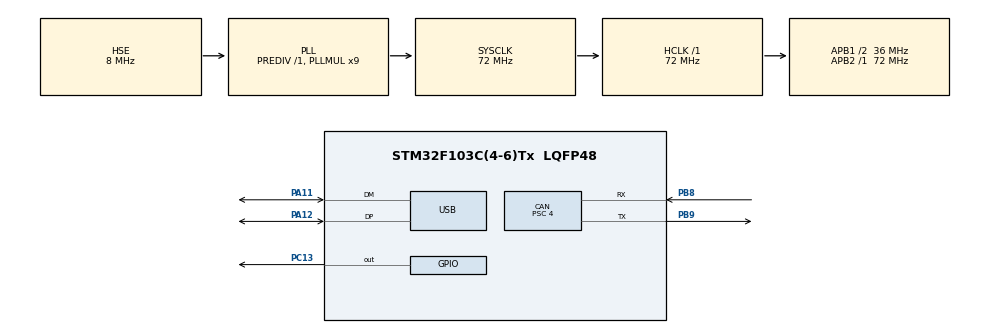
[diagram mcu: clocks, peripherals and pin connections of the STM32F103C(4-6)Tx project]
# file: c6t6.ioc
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CAN.BS1=CAN_BS1_15TQ
CAN.BS2=CAN_BS2_2TQ
CAN.CalculateBaudRate=500000
CAN.CalculateTimeBit=2000
CAN.CalculateTimeQuantum=111.11111111111111
CAN.NART=ENABLE
CAN.Prescaler=4
Mcu.Family=STM32F1
Mcu.Name=STM32F103C(4-6)Tx
Mcu.Package=LQFP48
NVIC.CAN1_RX1_IRQn=true\:0\:0\:false\:false\:true\:true\:true\:true
NVIC.PriorityGroup=NVIC_PRIORITYGROUP_4
NVIC.USB_LP_CAN1_RX0_IRQn=true\:0\:0\:false\:false\:true\:true\:true\:true
PA11.Mode=Device
PA11.Signal=USB_DM
PA12.Mode=Device
PA12.Signal=USB_DP
PA13.Mode=Serial_Wire
PA13.Signal=SYS_JTMS-SWDIO
PA14.Mode=Serial_Wire
PA14.Signal=SYS_JTCK-SWCLK
PB8.Mode=CAN_Activate
PB8.Signal=CAN_RX
PB9.Mode=CAN_Activate
PB9.Signal=CAN_TX
PC13-TAMPER-RTC.GPIO_PuPd=GPIO_NOPULL
PC13-TAMPER-RTC.PinState=GPIO_PIN_SET
PC13-TAMPER-RTC.Signal=GPIO_Output
PC14-OSC32_IN.Mode=LSE-External-Oscillator
PC14-OSC32_IN.Signal=RCC_OSC32_IN
PC15-OSC32_OUT.Mode=LSE-External-Oscillator
PC15-OSC32_OUT.Signal=RCC_OSC32_OUT
PD0-OSC_IN.Mode=HSE-External-Oscillator
PD0-OSC_IN.Signal=RCC_OSC_IN
PD1-OSC_OUT.Mode=HSE-External-Oscillator
PD1-OSC_OUT.Signal=RCC_OSC_OUT
ProjectManager.HeapSize=0x200
ProjectManager.StackSize=0x400
ProjectManager.TargetToolchain=CMake
RCC.AHBFreq_Value=72000000
RCC.APB1CLKDivider=RCC_HCLK_DIV2
RCC.APB1Freq_Value=36000000
RCC.APB1TimFreq_Value=72000000
RCC.APB2Freq_Value=72000000
RCC.APB2TimFreq_Value=72000000
RCC.HCLKFreq_Value=72000000
RCC.PLLMUL=RCC_PLL_MUL9
RCC.PLLSourceVirtual=RCC_PLLSOURCE_HSE
RCC.SYSCLKFreq_VALUE=72000000
RCC.SYSCLKSource=RCC_SYSCLKSOURCE_PLLCLK
RCC.USBFreq_Value=48000000
RCC.USBPrescaler=RCC_USBCLKSOURCE_PLL_DIV1_5
USB_DEVICE.CLASS_NAME_FS=CDC
USB_DEVICE.MANUFACTURER_STRING=stm32f103c6t6_candevice
USB_DEVICE.USBD_MAX_STR_DESC_SIZ=256
USB_DEVICE.USBD_SELF_POWERED=0
USB_DEVICE.VirtualMode=Cdc
USB_DEVICE.VirtualModeFS=Cdc_FS
VP_USB_DEVICE_VS_USB_DEVICE_CDC_FS.Mode=CDC_FS
board=custom

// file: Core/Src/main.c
/* USER CODE BEGIN Header */
/**
 ******************************************************************************
 * @file           : main.c
 * @brief          : Main program body
 ******************************************************************************
 * @attention
 *
 * Copyright (c) 2025 STMicroelectronics.
 * All rights reserved.
 *
 * This software is licensed under terms that can be found in the LICENSE file
 * in the root directory of this software component.
 * If no LICENSE file comes with this software, it is provided AS-IS.
 *
 ******************************************************************************
 */
/* USER CODE END Header */
#include "main.h"
#include "usb_device.h"

/* USER CODE BEGIN Includes */
#include <stdio.h>
#include <string.h>

#include "can_bitrate.h"
#include "can_codec.h"
#define MSGQUEUE_SLOTS 12
#include "ringbuf.h"
#include "usb_device.h"
#include "usbd_cdc_if.h"
/* USER CODE END Includes */

/* USER CODE BEGIN PD */
/* Longest legal frame is "T" + 8 hex id + dlc + 16 hex data = 26 characters;
   64 leaves generous room for a host that pads or adds trailing whitespace. */
#define BRIDGE_LINE_MAX 64
#define BRIDGE_LINE_SLOTS MSGQUEUE_SLOTS

#define BRIDGE_TX_BUF_SIZE 512

#define USB_TX_PACKET_SIZE 64u
/* How often the main loop looks at the controller error state. */
#define CAN_ERROR_POLL_MS 20u
/* Back-off between bus-off recovery attempts. */
#define CAN_RECOVER_INTERVAL_MS 1000u
/* PC13 is active-low on common STM32F103 "Blue Pill" boards.  Stretch each
   activity event so it is visible without delaying CAN/USB handling. */
#define LED_ACTIVITY_HOLD_MS 35u
/* USER CODE END PD */

CAN_HandleTypeDef hcan;

/* USER CODE BEGIN PV */
/* ---- USB CDC receive: line assembly + published-message queue ------------- */
static char bridge_line_slots[BRIDGE_LINE_SLOTS][BRIDGE_LINE_MAX];
static msgqueue_t bridge_rxq;
static uint16_t bridge_rx_idx;

/* ---- USB CDC transmit: ring buffer drained by the main loop --------------- */
static uint8_t bridge_tx_buf[BRIDGE_TX_BUF_SIZE];
static ring_u8_t bridge_txq;
static uint16_t usb_tx_pending;

/* ---- Counters, readable with the 'V' status command ----------------------- */
static volatile uint32_t stat_can_rx;      /* frames forwarded CAN -> USB    */
static volatile uint32_t stat_can_tx;      /* frames accepted USB -> CAN     */
static volatile uint32_t stat_transport_drop; /* bytes dropped, USB TX full */
static volatile uint32_t stat_cmd_drop;    /* command lines dropped/overflow */
static volatile uint32_t stat_cmd_bad;     /* malformed command lines        */
static volatile uint32_t stat_can_tx_drop; /* no free CAN mailbox            */
static volatile uint32_t stat_transport_err; /* reserved transport errors    */
static volatile uint32_t stat_can_recover; /* successful bus-off recoveries  */

static uint32_t can_last_error_poll;
static uint32_t can_last_recover;
static const can_bitrate_timing_t *can_active_bitrate;
static volatile uint8_t led_activity_requested;
static uint8_t led_activity_on;
static uint32_t led_activity_deadline;
/* USER CODE END PV */

void SystemClock_Config(void);
static void MX_GPIO_Init(void);
static void MX_CAN_Init(void);
/* USER CODE BEGIN PFP */
static HAL_StatusTypeDef CAN_ApplyFilterConfig(void);
static HAL_StatusTypeDef CAN_StartWithFilter(void);
static HAL_StatusTypeDef CAN_ReconfigureBitrate(const can_bitrate_timing_t *timing);
static void CAN_ServiceErrors(void);
static void USB_TxService(void);
static void HandleCommand(const char *line);
static void Transport_QueueBytes(const char *data, uint16_t len);
static void Transport_ReplyBitrate(void);
static void LED_RequestActivity(void);
static void LED_Service(void);
/* USER CODE END PFP */

/* USER CODE BEGIN 0 */
static HAL_StatusTypeDef CAN_ApplyFilterConfig(void)
{
    CAN_FilterTypeDef filterConfig;

    filterConfig.FilterBank           = 0;
    filterConfig.FilterMode           = CAN_FILTERMODE_IDMASK;
    filterConfig.FilterScale          = CAN_FILTERSCALE_32BIT;
    filterConfig.FilterIdHigh         = 0x0000;
    filterConfig.FilterIdLow          = 0x0000;
    filterConfig.FilterMaskIdHigh     = 0x0000;   /* mask 0 = accept everything */
    filterConfig.FilterMaskIdLow      = 0x0000;
    filterConfig.FilterFIFOAssignment = CAN_FILTER_FIFO0;
    filterConfig.FilterActivation     = ENABLE;
    filterConfig.SlaveStartFilterBank = 14;       /* unused: single CAN instance */

    return HAL_CAN_ConfigFilter(&hcan, &filterConfig);
}

/* Start (or restart) the controller.  HAL_CAN_Stop() deactivates the filter
   banks, so the filter has to be reprogrammed on every restart - that is what
   the bus-off recovery path relies on. */
static HAL_StatusTypeDef CAN_StartWithFilter(void)
{
    if (CAN_ApplyFilterConfig() != HAL_OK || HAL_CAN_Start(&hcan) != HAL_OK)
    {
        return HAL_ERROR;
    }
    return HAL_CAN_ActivateNotification(&hcan,
                                        CAN_IT_RX_FIFO0_MSG_PENDING |
                                        CAN_IT_ERROR |
                                        CAN_IT_BUSOFF);
}

static uint32_t CAN_TimeSeg1Constant(uint8_t time_quanta)
{
    switch (time_quanta)
    {
        case 12u: return CAN_BS1_12TQ;
        case 15u: return CAN_BS1_15TQ;
        default:  return 0u;
    }
}

static uint32_t CAN_TimeSeg2Constant(uint8_t time_quanta)
{
    return time_quanta == 2u ? CAN_BS2_2TQ : 0u;
}

/* Stop bxCAN, update BTR through HAL_CAN_Init(), then restore the filter,
   notifications and normal operation.  If the new configuration cannot be
   started, put the previous configuration back before reporting failure. */
static HAL_StatusTypeDef CAN_ReconfigureBitrate(const can_bitrate_timing_t *timing)
{
    CAN_InitTypeDef previous_init;
    const can_bitrate_timing_t *previous_bitrate = can_active_bitrate;
    uint32_t time_seg1;
    uint32_t time_seg2;

    if (timing == NULL)
    {
        return HAL_ERROR;
    }
    if (can_active_bitrate == timing)
    {
        return HAL_OK;
    }

    time_seg1 = CAN_TimeSeg1Constant(timing->time_seg1_tq);
    time_seg2 = CAN_TimeSeg2Constant(timing->time_seg2_tq);
    if (time_seg1 == 0u || time_seg2 == 0u)
    {
        return HAL_ERROR;
    }
    if (HAL_CAN_Stop(&hcan) != HAL_OK)
    {
        return HAL_ERROR;
    }

    previous_init = hcan.Init;
    hcan.Init.Prescaler = timing->prescaler;
    hcan.Init.TimeSeg1 = time_seg1;
    hcan.Init.TimeSeg2 = time_seg2;
    if (HAL_CAN_Init(&hcan) == HAL_OK && CAN_StartWithFilter() == HAL_OK)
    {
        hcan.ErrorCode = HAL_CAN_ERROR_NONE;
        can_active_bitrate = timing;
        return HAL_OK;
    }

    /* A failed change must not strand the device at a half-applied rate. */
    (void)HAL_CAN_Stop(&hcan);
    hcan.Init = previous_init;
    if (HAL_CAN_Init(&hcan) == HAL_OK && CAN_StartWithFilter() == HAL_OK)
    {
        hcan.ErrorCode = HAL_CAN_ERROR_NONE;
    }
    can_active_bitrate = previous_bitrate;
    return HAL_ERROR;
}

/* Bring the controller back after it dropped off the bus.  Without this the
   node stays silent until someone power-cycles it. */
static void CAN_ServiceErrors(void)
{
    uint32_t now = HAL_GetTick();
    uint32_t err;

    if ((now - can_last_error_poll) < CAN_ERROR_POLL_MS)
    {
        return;
    }
    can_last_error_poll = now;

    err = HAL_CAN_GetError(&hcan);
    if (err == HAL_CAN_ERROR_NONE)
    {
        return;
    }
    if ((err & HAL_CAN_ERROR_BOF) == 0u)
    {
        /* Warning / error-passive only: the controller keeps working. */
        return;
    }
    if ((now - can_last_recover) < CAN_RECOVER_INTERVAL_MS)
    {
        return;
    }
    can_last_recover = now;

    if (HAL_CAN_Stop(&hcan) != HAL_OK)
    {
        return;
    }
    __HAL_CAN_CLEAR_FLAG(&hcan, CAN_FLAG_ERRI);
    hcan.ErrorCode = HAL_CAN_ERROR_NONE;

    if (CAN_StartWithFilter() == HAL_OK)
    {
        stat_can_recover++;
    }
}

/* Submit one full-speed USB packet at a time.  The CDC stack keeps the buffer
   pointer until the IN transfer completes, so bytes are consumed from the ring
   only after TxState returns to idle. */
static void USB_TxService(void)
{
    uint16_t run;

    if (usb_tx_pending != 0u)
    {
        if (CDC_TxBusy_FS() != 0u)
        {
            return;
        }
        ring_u8_consume(&bridge_txq, usb_tx_pending);
        usb_tx_pending = 0u;
    }

    run = ring_u8_peek_run(&bridge_txq);

    if (run == 0u)
    {
        return;
    }
    if (run > USB_TX_PACKET_SIZE)
    {
        run = USB_TX_PACKET_SIZE;
    }

    if (CDC_Transmit_FS(&bridge_tx_buf[bridge_txq.tail], run) == USBD_OK)
    {
        usb_tx_pending = run;
    }
}

static void Transport_QueueBytes(const char *data, uint16_t len)
{
    uint16_t i;
    uint32_t primask = __get_PRIMASK();

    __disable_irq();
    for (i = 0u; i < len; i++)
    {
        if (!ring_u8_push(&bridge_txq, (uint8_t)data[i]))
        {
            stat_transport_drop++;
            break;
        }
    }
    __set_PRIMASK(primask);
}

/* Interrupt callbacks only set a byte flag.  The main loop performs the GPIO
   writes and extends the visible pulse, so no delay or HAL GPIO call is added
   to the CAN receive interrupt. */
static void LED_RequestActivity(void)
{
    led_activity_requested = 1u;
}

static void LED_Service(void)
{
    uint32_t now = HAL_GetTick();

    if (led_activity_requested != 0u)
    {
        led_activity_requested = 0u;
        led_activity_on = 1u;
        led_activity_deadline = now + LED_ACTIVITY_HOLD_MS;
        HAL_GPIO_WritePin(GPIOC, GPIO_PIN_13, GPIO_PIN_RESET);
    }
    else if (led_activity_on != 0u &&
             (int32_t)(now - led_activity_deadline) >= 0)
    {
        led_activity_on = 0u;
        HAL_GPIO_WritePin(GPIOC, GPIO_PIN_13, GPIO_PIN_SET);
    }
}

static void Transport_ReplyBitrate(void)
{
    char reply[20];
    const can_bitrate_timing_t *active = can_active_bitrate;
    int n;

    if (active == NULL)
    {
        active = can_bitrate_default();
    }
    n = snprintf(reply, sizeof reply, "S %lu\r", (unsigned long)active->bitrate);
    if (n > 0)
    {
        Transport_QueueBytes(reply, (uint16_t)n);
    }
}

static void HandleCommand(const char *line)
{
    can_frame_t frame;
    can_decode_result_t result;
    const can_bitrate_timing_t *requested_bitrate;
    can_bitrate_command_t bitrate_command;

    bitrate_command = can_bitrate_parse_command(line, &requested_bitrate);
    if (bitrate_command == CAN_BITRATE_CMD_QUERY)
    {
        Transport_ReplyBitrate();
        return;
    }
    if (bitrate_command == CAN_BITRATE_CMD_SET)
    {
        if (CAN_ReconfigureBitrate(requested_bitrate) == HAL_OK)
        {
            Transport_ReplyBitrate();
        }
        else
        {
            Transport_QueueBytes("E S\r", 4u);
        }
        return;
    }
    if (bitrate_command == CAN_BITRATE_CMD_INVALID)
    {
        stat_cmd_bad++;
        Transport_QueueBytes("E S\r", 4u);
        return;
    }

    /* Keep-alive / identification, so a host can confirm the bridge is alive
       and see whether anything is being dropped. */
    if (line[0] == 'V' && line[1] == '\0')
    {
        char reply[96];
        int n = snprintf(reply, sizeof reply, "V %lu %lu %lu %lu %lu %lu %lu %lu\r",
                         (unsigned long)stat_can_rx,
                         (unsigned long)stat_can_tx,
                         (unsigned long)stat_transport_drop,
                         (unsigned long)stat_cmd_drop,
                         (unsigned long)stat_cmd_bad,
                         (unsigned long)stat_can_tx_drop,
                         (unsigned long)stat_transport_err,
                         (unsigned long)stat_can_recover);
        if (n > 0)
        {
            Transport_QueueBytes(reply, (uint16_t)n);
        }
        return;
    }

    result = can_decode(line, &frame);
    if (result == CAN_DEC_NOT_FRAME)
    {
        return;   /* not a frame at all - ignore, do not count as an error */
    }
    if (result != CAN_DEC_OK)
    {
        stat_cmd_bad++;
        return;
    }

    {
        CAN_TxHeaderTypeDef tx_header;
        uint32_t mailbox;

        memset(&tx_header, 0, sizeof tx_header);
        tx_header.IDE = frame.ext ? CAN_ID_EXT : CAN_ID_STD;
        tx_header.RTR = frame.rtr ? CAN_RTR_REMOTE : CAN_RTR_DATA;
        tx_header.DLC = frame.dlc;
        tx_header.TransmitGlobalTime = DISABLE;
        if (frame.ext)
        {
            tx_header.ExtId = frame.id;
        }
        else
        {
            tx_header.StdId = frame.id;
        }

        if (HAL_CAN_AddTxMessage(&hcan, &tx_header, frame.data, &mailbox) == HAL_OK)
        {
            stat_can_tx++;
            LED_RequestActivity();
        }
        else
        {
            /* All three mailboxes busy - report it rather than silently
               dropping the frame on the floor. */
            stat_can_tx_drop++;
        }
    }
}
/* USER CODE END 0 */

int main(void)
{

  /* MCU Configuration--------------------------------------------------------*/

  /* Reset of all peripherals, Initializes the Flash interface and the Systick. */
  HAL_Init();

  /* Configure the system clock */
  SystemClock_Config();

  /* Initialize all configured peripherals */
  MX_GPIO_Init();
  MX_CAN_Init();
  MX_USB_DEVICE_Init();
  /* USER CODE BEGIN 2 */
    msgqueue_init(&bridge_rxq, &bridge_line_slots[0][0], BRIDGE_LINE_MAX);
    ring_u8_init(&bridge_txq, bridge_tx_buf, BRIDGE_TX_BUF_SIZE);
    can_active_bitrate = can_bitrate_default();

    /* USB is already up before CAN notifications are enabled below.  This
       keeps enumeration deterministic on their shared interrupt vector. */
    if (CAN_StartWithFilter() != HAL_OK)
    {
        Error_Handler();
    }

    can_last_error_poll = HAL_GetTick();

  /* USER CODE END 2 */

  /* Infinite loop */
  /* USER CODE BEGIN WHILE */
    while (1) {
        /* CAN -> USB CDC backlog */
        USB_TxService();

        /* Recover the controller if it fell off the bus */
        CAN_ServiceErrors();

        /* USB CDC -> CAN: handle every complete command line that is waiting */
        {
            const char *line = msgqueue_read_slot(&bridge_rxq);
            if (line != NULL)
            {
                HandleCommand(line);
                msgqueue_release(&bridge_rxq);
            }
        }

    /* USER CODE END WHILE */

    /* USER CODE BEGIN 3 */
        LED_Service();
    }
  /* USER CODE END 3 */
}

void SystemClock_Config(void)
{
  RCC_OscInitTypeDef RCC_OscInitStruct = {0};
  RCC_ClkInitTypeDef RCC_ClkInitStruct = {0};
  RCC_PeriphCLKInitTypeDef PeriphClkInit = {0};

  /** Initializes the RCC Oscillators according to the specified parameters
  * in the RCC_OscInitTypeDef structure.
  */
  RCC_OscInitStruct.OscillatorType = RCC_OSCILLATORTYPE_HSE;
  RCC_OscInitStruct.HSEState = RCC_HSE_ON;
  RCC_OscInitStruct.HSEPredivValue = RCC_HSE_PREDIV_DIV1;
  RCC_OscInitStruct.HSIState = RCC_HSI_ON;
  RCC_OscInitStruct.PLL.PLLState = RCC_PLL_ON;
  RCC_OscInitStruct.PLL.PLLSource = RCC_PLLSOURCE_HSE;
  RCC_OscInitStruct.PLL.PLLMUL = RCC_PLL_MUL9;
  if (HAL_RCC_OscConfig(&RCC_OscInitStruct) != HAL_OK)
  {
    Error_Handler();
  }

  /** Initializes the CPU, AHB and APB buses clocks
  */
  RCC_ClkInitStruct.ClockType = RCC_CLOCKTYPE_HCLK|RCC_CLOCKTYPE_SYSCLK
                              |RCC_CLOCKTYPE_PCLK1|RCC_CLOCKTYPE_PCLK2;
  RCC_ClkInitStruct.SYSCLKSource = RCC_SYSCLKSOURCE_PLLCLK;
  RCC_ClkInitStruct.AHBCLKDivider = RCC_SYSCLK_DIV1;
  RCC_ClkInitStruct.APB1CLKDivider = RCC_HCLK_DIV2;
  RCC_ClkInitStruct.APB2CLKDivider = RCC_HCLK_DIV1;

  if (HAL_RCC_ClockConfig(&RCC_ClkInitStruct, FLASH_LATENCY_2) != HAL_OK)
  {
    Error_Handler();
  }
  PeriphClkInit.PeriphClockSelection = RCC_PERIPHCLK_USB;
  PeriphClkInit.UsbClockSelection = RCC_USBCLKSOURCE_PLL_DIV1_5;
  if (HAL_RCCEx_PeriphCLKConfig(&PeriphClkInit) != HAL_OK)
  {
    Error_Handler();
  }
}

static void MX_CAN_Init(void)
{

  hcan.Instance = CAN1;
  hcan.Init.Prescaler = 4;
  hcan.Init.Mode = CAN_MODE_NORMAL;
  hcan.Init.SyncJumpWidth = CAN_SJW_1TQ;
  hcan.Init.TimeSeg1 = CAN_BS1_15TQ;
  hcan.Init.TimeSeg2 = CAN_BS2_2TQ;
  hcan.Init.TimeTriggeredMode = DISABLE;
  hcan.Init.AutoBusOff = DISABLE;
  hcan.Init.AutoWakeUp = DISABLE;
  hcan.Init.AutoRetransmission = ENABLE;
  hcan.Init.ReceiveFifoLocked = DISABLE;
  hcan.Init.TransmitFifoPriority = DISABLE;
  if (HAL_CAN_Init(&hcan) != HAL_OK)
  {
    Error_Handler();
  }

}

static void MX_GPIO_Init(void)
{
  GPIO_InitTypeDef GPIO_InitStruct = {0};

  /* GPIO Ports Clock Enable */
  __HAL_RCC_GPIOC_CLK_ENABLE();
  __HAL_RCC_GPIOD_CLK_ENABLE();
  __HAL_RCC_GPIOA_CLK_ENABLE();
  __HAL_RCC_GPIOB_CLK_ENABLE();

  /*Configure GPIO pin Output Level */
  HAL_GPIO_WritePin(GPIOC, GPIO_PIN_13, GPIO_PIN_SET);

  /*Configure GPIO pin : PC13 */
  GPIO_InitStruct.Pin = GPIO_PIN_13;
  GPIO_InitStruct.Mode = GPIO_MODE_OUTPUT_PP;
  GPIO_InitStruct.Pull = GPIO_NOPULL;
  GPIO_InitStruct.Speed = GPIO_SPEED_FREQ_LOW;
  HAL_GPIO_Init(GPIOC, &GPIO_InitStruct);

}

/* USER CODE BEGIN 4 */

/**
  * @brief  Feed bytes received by the USB CDC OUT endpoint into the existing
  *         line-oriented CAN protocol parser.
  *
  * The slot is fully written and NUL-terminated before msgqueue_publish()
  * makes it visible, so the main loop cannot observe a partial command.
  */
void Bridge_ReceiveBytes(const uint8_t *data, uint32_t len)
{
    uint32_t i;

    for (i = 0u; i < len; i++)
    {
        uint8_t b = data[i];

        if (b == '\r' || b == '\n')
        {
            if (bridge_rx_idx > 0u)
            {
                if (msgqueue_has_room(&bridge_rxq))
                {
                    msgqueue_write_slot(&bridge_rxq)[bridge_rx_idx] = '\0';
                    msgqueue_publish(&bridge_rxq);
                }
                else
                {
                    stat_cmd_drop++;
                }
                bridge_rx_idx = 0u;
            }
        }
        else if (bridge_rx_idx < (BRIDGE_LINE_MAX - 1u))
        {
            msgqueue_write_slot(&bridge_rxq)[bridge_rx_idx++] = (char)b;
        }
        else
        {
            stat_cmd_drop++;
            bridge_rx_idx = 0u;
        }
    }
}

/**
  * @brief  CAN frame received in FIFO0: forward it over USB CDC as ASCII.
  */
void HAL_CAN_RxFifo0MsgPendingCallback(CAN_HandleTypeDef *hcan)
{
    CAN_RxHeaderTypeDef rx_header;
    uint8_t rx_data[CAN_CODEC_MAX_DATA];
    can_frame_t frame;
    char msg[CAN_ENCODE_MAX];
    uint16_t len;
    uint16_t i;

    if (HAL_CAN_GetRxMessage(hcan, CAN_RX_FIFO0, &rx_header, rx_data) != HAL_OK)
    {
        return;
    }
    LED_RequestActivity();

    /* Trust nothing that came off the bus: clamp the DLC and zero the payload
       so a remote frame can never leak stale bytes. */
    frame.ext = (rx_header.IDE == CAN_ID_EXT) ? 1u : 0u;
    frame.rtr = (rx_header.RTR == CAN_RTR_REMOTE) ? 1u : 0u;
    frame.id  = frame.ext ? rx_header.ExtId : rx_header.StdId;
    frame.dlc = (rx_header.DLC > CAN_CODEC_MAX_DATA)
                    ? (uint8_t)CAN_CODEC_MAX_DATA
                    : (uint8_t)rx_header.DLC;
    memset(frame.data, 0, sizeof frame.data);
    for (i = 0u; i < frame.dlc; i++)
    {
        frame.data[i] = rx_data[i];
    }

    len = can_encode(msg, &frame);

    Transport_QueueBytes(msg, len);
    stat_can_rx++;
}

/**
  * @brief  CAN error interrupt.  Bus-off recovery itself is handled by
  *         CAN_ServiceErrors() in the main loop, which can afford to call the
  *         blocking HAL_CAN_Stop()/HAL_CAN_Start() pair and reprogram the
  *         filter banks that HAL_CAN_Stop() deactivates.
  */
void HAL_CAN_ErrorCallback(CAN_HandleTypeDef *hcan)
{
    (void)hcan;
}
/* USER CODE END 4 */

void Error_Handler(void)
{
  /* USER CODE BEGIN Error_Handler_Debug */
    /* LED on solid and stop.  Interrupts stay enabled so a debugger can still
       inspect the state that led here. */
    HAL_GPIO_WritePin(GPIOC, GPIO_PIN_13, GPIO_PIN_RESET);
    while (1) {
    }
  /* USER CODE END Error_Handler_Debug */
}
